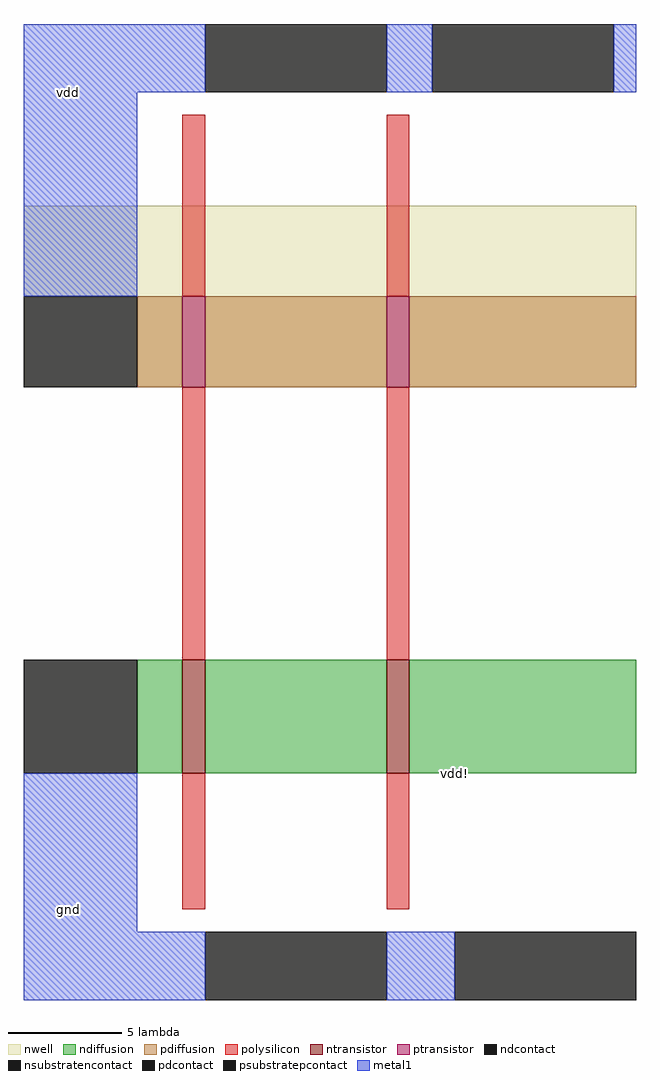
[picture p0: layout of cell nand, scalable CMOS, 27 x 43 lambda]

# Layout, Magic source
magic
tech scmos
<< nwell >>
rect -1 10 26 18
<< polysilicon >>
rect 6 14 7 22
rect 15 14 16 22
rect 6 -2 7 10
rect 15 -2 16 10
rect 6 -13 7 -7
rect 15 -13 16 -7
<< ndiffusion >>
rect 4 -7 6 -2
rect 7 -7 15 -2
rect 16 -7 26 -2
<< pdiffusion >>
rect 4 10 6 14
rect 7 10 15 14
rect 16 10 26 14
<< metal1 >>
rect -1 23 7 26
rect 15 23 17 26
rect 25 23 26 26
rect -1 14 4 23
rect -1 -14 4 -7
rect -1 -17 7 -14
rect 15 -17 18 -14
<< ntransistor >>
rect 6 -7 7 -2
rect 15 -7 16 -2
<< ptransistor >>
rect 6 10 7 14
rect 15 10 16 14
<< ndcontact >>
rect -1 -7 4 -2
<< pdcontact >>
rect -1 10 4 14
<< psubstratepcontact >>
rect 7 -17 15 -14
rect 18 -17 26 -14
<< nsubstratencontact >>
rect 7 23 15 26
rect 17 23 25 26
<< labels >>
rlabel metal1 0 22 2 24 4 vdd
rlabel metal1 0 -14 2 -12 2 gnd
rlabel ndiffusion 18 -7 18 -7 1 vdd!
<< end >>
